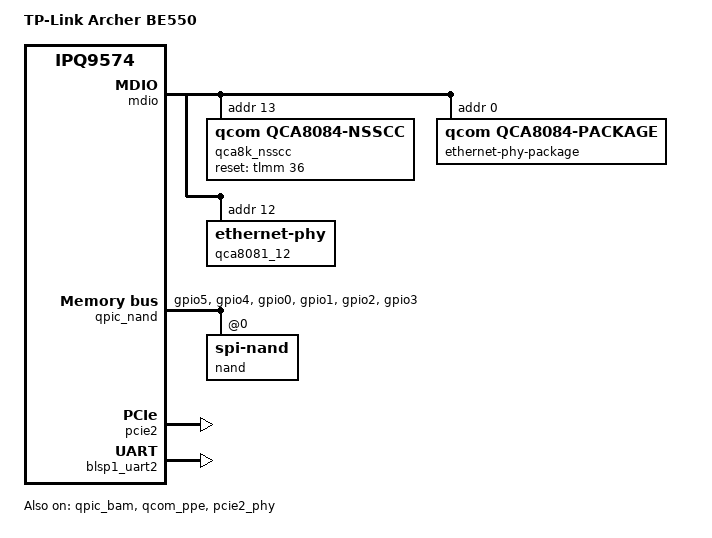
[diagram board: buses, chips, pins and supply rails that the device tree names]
// SPDX-License-Identifier: (GPL-2.0+)
/dts-v1/;

#include "ipq9574.dtsi"

#include <dt-bindings/gpio/gpio.h>
#include <dt-bindings/clock/qcom,qca8k-nsscc.h>
#include <dt-bindings/net/qcom,qca808x.h>
#include <dt-bindings/reset/qcom,qca8k-nsscc.h>

/ {
	model = "TP-Link Archer BE550";
	compatible = "tplink,archer-be550-v1", "qcom,ipq9574";

	aliases {
		serial0 = &blsp1_uart2;
	};

	chosen {
		stdout-path = "serial0:115200n8";
	};
};

&pcsuniphy1 {
	/* No uniphy1 for you! (ipq9554 doesn't have uniphy1) */
	status = "disabled";
};

&mdio {
	pinctrl-0 = <&mdio_pins>;
	pinctrl-names = "default";
	phy-reset-gpio = <&tlmm 60 GPIO_ACTIVE_HIGH>;//,
			 //<&tlmm 36 GPIO_ACTIVE_HIGH>;
	status = "okay";

	qca8k_nsscc: clock-controller@18 {
		compatible = "qcom,qca8084-nsscc";
		reg = <0x0d>;
		/* TODO: Which one is the correct reset gpio? */
		reset-gpios = <&tlmm 36 GPIO_ACTIVE_HIGH>;

		clocks = <&xo_board_clk>, // <&pcs0_pll>,
			 <&pcsuniphy0 0>, // <&qca8k_uniphy0_rx>,
			 <&pcsuniphy0 1>, // <&qca8k_uniphy0_tx>,
			 <&pcsuniphy2 0>, // <&qca8k_uniphy1_rx>,
			 <&pcsuniphy2 1>, // <&qca8k_uniphy1_tx>,
			 <&cmn_pll 3>, // <&qca8k_uniphy1_rx312p5m>,
			 <&cmn_pll 3>; // <&qca8k_uniphy1_tx312p5m>;
		#clock-cells = <1>;
		#reset-cells = <1>;
		#power-domain-cells = <1>;
	};

	ethernet-phy-package@0 {
		#address-cells = <1>;
		#size-cells = <0>;
		compatible = "qcom,qca8084-package";
		reg = <0>;
		clocks = <&qca8k_nsscc NSS_CC_APB_BRIDGE_CLK>,
			 <&qca8k_nsscc NSS_CC_AHB_CLK>,
			 <&qca8k_nsscc NSS_CC_SEC_CTRL_AHB_CLK>,
			 <&qca8k_nsscc NSS_CC_TLMM_CLK>,
			 <&qca8k_nsscc NSS_CC_TLMM_AHB_CLK>,
			 <&qca8k_nsscc NSS_CC_CNOC_AHB_CLK>,
			 <&qca8k_nsscc NSS_CC_MDIO_AHB_CLK>;
		clock-names = "apb_bridge",
			      "ahb",
			      "sec_ctrl_ahb",
			      "tlmm",
			      "tlmm_ahb",
			      "cnoc_ahb",
			      "mdio_ahb";
		resets = <&qca8k_nsscc NSS_CC_GEPHY_FULL_ARES>;

		/* TODO: UPdate driver to use string:
		 * qcom,package-mode = "10g-qxgmii";
		 */
		qcom,package-mode = <QCA808X_PCS1_10G_QXGMII_PCS0_UNUNSED>;

		qca8084_0: ethernet-phy@0 {
			compatible = "ethernet-phy-id004d.d180";
			reg = <1>;
			clocks = <&qca8k_nsscc NSS_CC_GEPHY0_SYS_CLK>;
			resets = <&qca8k_nsscc NSS_CC_GEPHY0_SYS_ARES>;
		};
		qca8084_1: ethernet-phy@1 {
			compatible = "ethernet-phy-id004d.d180";
			reg = <2>;
			clocks = <&qca8k_nsscc NSS_CC_GEPHY1_SYS_CLK>;
			resets = <&qca8k_nsscc NSS_CC_GEPHY1_SYS_ARES>;
		};
		qca8084_2: ethernet-phy@2 {
			compatible = "ethernet-phy-id004d.d180";
			reg = <3>;
			clocks = <&qca8k_nsscc NSS_CC_GEPHY2_SYS_CLK>;
			resets = <&qca8k_nsscc NSS_CC_GEPHY2_SYS_ARES>;
		};
		qca8084_3: ethernet-phy@3 {
			compatible = "ethernet-phy-id004d.d180";
			reg = <4>;
			clocks = <&qca8k_nsscc NSS_CC_GEPHY3_SYS_CLK>;
			resets = <&qca8k_nsscc NSS_CC_GEPHY3_SYS_ARES>;
		};
	};

	qca8081_12: ethernet-phy@12 {
		reg = <12>;
	};
};

&tlmm {
	qspi_nand_pins: qspi_nand_pins {
		qspi_clock {
			pins = "gpio5";
			function = "qspi_clk";
			drive-strength = <8>;
			bias-disable;
		};

		qspi_cs {
			pins = "gpio4";
			function = "qspi_cs";
			drive-strength = <8>;
			bias-disable;
		};

		qspi_data {
			pins = "gpio0", "gpio1", "gpio2", "gpio3";
			function = "qspi_data";
			drive-strength = <8>;
			bias-disable;
		};
	};
};

&qpic_bam {
	status = "okay";
};

&qpic_nand {
	pinctrl-0 = <&qspi_nand_pins>;
	pinctrl-names = "default";
	status = "okay";

	nand@0 {
		compatible = "spi-nand";
		reg = <0>;
		#address-cells = <1>;
		#size-cells = <1>;
		nand-ecc-engine = <&qpic_nand>;
		nand-ecc-strength = <4>;
		nand-ecc-step-size = <512>;

		partitions {
			compatible = "qcom,smem-part";
		};
	};
};

&rpm_requests {
	regulators {
		compatible = "qcom,rpm-mp5496-regulators";

		ipq9574_s1: s1 {
			regulator-min-microvolt = <725000>;
			regulator-max-microvolt = <1075000>;
		};
	};
};

&qcom_ppe {
	status = "okay";

	ethernet-ports {
		#address-cells = <1>;
		#size-cells = <0>;

		port@1 {
			reg = <1>;
			phy-mode = "qsgmii";
			managed = "in-band-status";
			label = "lan1";
			phy-handle = <&qca8084_0>;
			pcs-handle = <&pcsuniphy0_ch0>;
			clocks = <&nsscc NSS_CC_PORT1_MAC_CLK>,
				 <&nsscc NSS_CC_PORT1_RX_CLK>,
				 <&nsscc NSS_CC_PORT1_TX_CLK>;
			clock-names = "port_mac",
				      "port_rx",
				      "port_tx";
			resets = <&nsscc PORT1_MAC_ARES>,
				 <&nsscc PORT1_RX_ARES>,
				 <&nsscc PORT1_TX_ARES>;
			reset-names = "port_mac",
				      "port_rx",
				      "port_tx";
		};

		port@2 {
			reg = <2>;
			phy-mode = "qsgmii";
			managed = "in-band-status";
			label = "lan2";
			phy-handle = <&qca8084_1>;
			pcs-handle = <&pcsuniphy0_ch1>;
			clocks = <&nsscc NSS_CC_PORT2_MAC_CLK>,
				 <&nsscc NSS_CC_PORT2_RX_CLK>,
				 <&nsscc NSS_CC_PORT2_TX_CLK>;
			clock-names = "port_mac",
				      "port_rx",
				      "port_tx";
			resets = <&nsscc PORT2_MAC_ARES>,
				 <&nsscc PORT2_RX_ARES>,
				 <&nsscc PORT2_TX_ARES>;
			reset-names = "port_mac",
				      "port_rx",
				      "port_tx";
		};

		port@3 {
			reg = <3>;
			phy-mode = "qsgmii";
			managed = "in-band-status";
			label = "lan3";
			phy-handle = <&qca8084_2>;
			pcs-handle = <&pcsuniphy0_ch2>;
			clocks = <&nsscc NSS_CC_PORT3_MAC_CLK>,
				 <&nsscc NSS_CC_PORT3_RX_CLK>,
				 <&nsscc NSS_CC_PORT3_TX_CLK>;
			clock-names = "port_mac",
				      "port_rx",
				      "port_tx";
			resets = <&nsscc PORT3_MAC_ARES>,
				 <&nsscc PORT3_RX_ARES>,
				 <&nsscc PORT3_TX_ARES>;
			reset-names = "port_mac",
				      "port_rx",
				      "port_tx";
		};

		port@4 {
			reg = <4>;
			phy-mode = "qsgmii";
			managed = "in-band-status";
			label = "lan4";
			phy-handle = <&qca8084_3>;
			pcs-handle = <&pcsuniphy0_ch3>;
			clocks = <&nsscc NSS_CC_PORT4_MAC_CLK>,
				 <&nsscc NSS_CC_PORT4_RX_CLK>,
				 <&nsscc NSS_CC_PORT4_TX_CLK>;
			clock-names = "port_mac",
				      "port_rx",
				      "port_tx";
			resets = <&nsscc PORT4_MAC_ARES>,
				 <&nsscc PORT4_RX_ARES>,
				 <&nsscc PORT4_TX_ARES>;
			reset-names = "port_mac",
				      "port_rx",
				      "port_tx";
		};

		port@6 {
			reg = <6>;
			phy-mode = "usxgmii";
			managed = "in-band-status";
			label = "wan";
			phy-handle = <&qca8081_12>;
			pcs-handle = <&pcsuniphy2_ch0>;
			clocks = <&nsscc NSS_CC_PORT6_MAC_CLK>,
				 <&nsscc NSS_CC_PORT6_RX_CLK>,
				 <&nsscc NSS_CC_PORT6_TX_CLK>;
			clock-names = "port_mac",
				      "port_rx",
				      "port_tx";
			resets = <&nsscc PORT6_MAC_ARES>,
				 <&nsscc PORT6_RX_ARES>,
				 <&nsscc PORT6_TX_ARES>;
			reset-names = "port_mac",
				      "port_rx",
				      "port_tx";
		};
	};
};

&pcie2_phy {
	status = "okay";
};

&pcie2 {
	status = "okay";
	perst-gpio = <&tlmm 29 GPIO_ACTIVE_LOW>;
};

&blsp1_uart2 {
        pinctrl-0 = <&uart2_pins>;
        pinctrl-names = "default";
        status = "okay";
};

&sleep_clk {
	clock-frequency = <32000>;
};

/*
 * The clock tree follows:
 *     xo_clk ->  ref_48mhz_clk -> xo_board_clk
 *
 * I have no ides what the original oscillator frequency is, but however we
 * xo_clk and the multipliers, ref_48mhz_clk shoudl be 48 MHz.
 */
&xo_clk {
	// clock-frequency = <48000000>;
	clock-frequency = <24000000>;
};

&ref_48mhz_clk {
	clock-div = <1>;
	clock-mult = <2>;
};

&xo_board_clk {
	clock-div = <2>;
	clock-mult = <1>;
};
